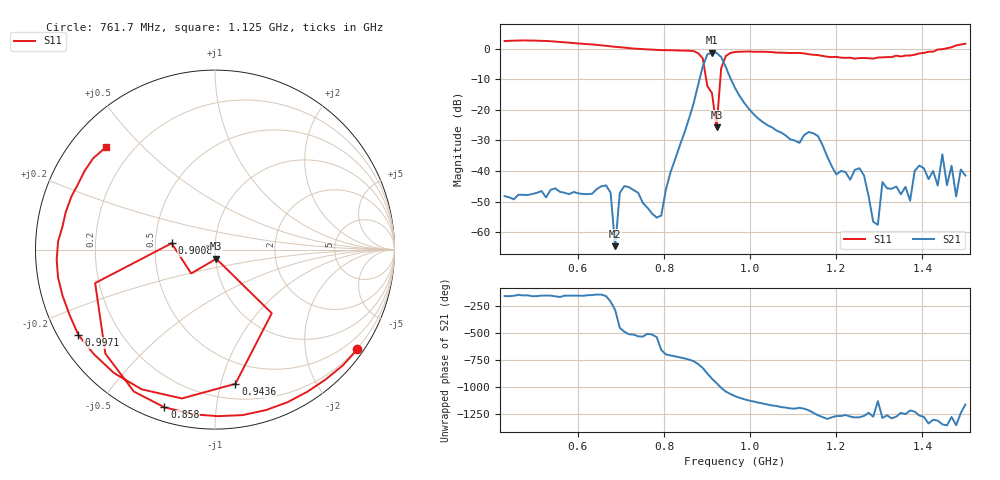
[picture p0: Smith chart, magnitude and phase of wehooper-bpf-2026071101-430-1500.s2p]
# HZ S RI R 50
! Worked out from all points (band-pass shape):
!   101 points, 430 MHz to 1.5 GHz, reference 50 ohm
!   highest |S21| = -1.31 dB at 911.5 MHz (marker M1); lowest = -64.5 dB at 686.8 MHz (marker M2)
!   |S21| within 3 dB of the highest: 894.3 MHz to 937.9 MHz (43.59 MHz wide, 4.76 % of centre)
!   lowest |S11| = -25.7 dB at 922.2 MHz (marker M3), VSWR 1.11, Z = 50.5 - j5.18 ohm
!   |S11| at or under -10 dB: 898.1 MHz to 930.9 MHz (32.79 MHz wide, 3.59 % of centre)
!   S12 and S22 are empty: the file has one direction only
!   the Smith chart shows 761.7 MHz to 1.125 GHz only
!   S11 on the Smith chart (normalised r, x): 761.7 MHz: 0.18, -3.17; 858 MHz: 0.06, -0.73; 900.8 MHz: 0.61, +0.05; 943.6 MHz: 0.32, -1.11; 997.1 MHz: 0.06, -0.29; 1.125 GHz: 0.10, +0.39
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4.3e8  -1.234 0.4904  -0.00372 -0.00116  0 0  0 0
5.263e8  -0.3199 1.29  -0.00345 -0.0014  0 0  0 0
6.119e8  0.6693 0.9921  -0.00397 -0.00141  0 0  0 0
6.761e8  1.029 0.3562  -0.00373 0.00243  0 0  0 0
6.868e8  1.041 0.2344  0.000229 0.000548  0 0  0 0
7.082e8  1.036 -0.0121  -0.00384 -0.0042  0 0  0 0
7.617e8  0.7937 -0.555  -0.00221 -0.00121  0 0  0 0
7.938e8  0.5152 -0.7914  0.000972 0.00161  0 0  0 0
8.58e8  -0.2823 -0.8783  0.0617 -0.0353  0 0  0 0
8.794e8  -0.6108 -0.5795  0.0812 -0.2414  0 0  0 0
9.008e8  -0.2416 0.0353  -0.749 -0.2888  0 0  0 0
9.115e8  -0.1327 -0.1328  -0.7716 0.3798  0 0  0 0
9.222e8  0.00725 -0.0511  -0.3285 0.787  0 0  0 0
9.436e8  0.1137 -0.7477  0.4111 0.2827  0 0  0 0
9.65e8  -0.4088 -0.7784  0.2257 -0.0332  0 0  0 0
9.971e8  -0.7614 -0.4752  0.0689 -0.0777  0 0  0 0
1.1255e9  -0.6089 0.5694  -0.0217 -0.032  0 0  0 0
1.1469e9  -0.4734 0.6348  -0.0395 -0.0123  0 0  0 0
1.2539e9  0.207 0.6679  -0.0102 0.00443  0 0  0 0
1.286e9  0.4003 0.555  -0.00141 0.00046  0 0  0 0
1.3288e9  0.6297 0.359  -0.00427 0.00287  0 0  0 0
1.5e9  0.6471 -1.008  0.000641 -0.00843  0 0  0 0
